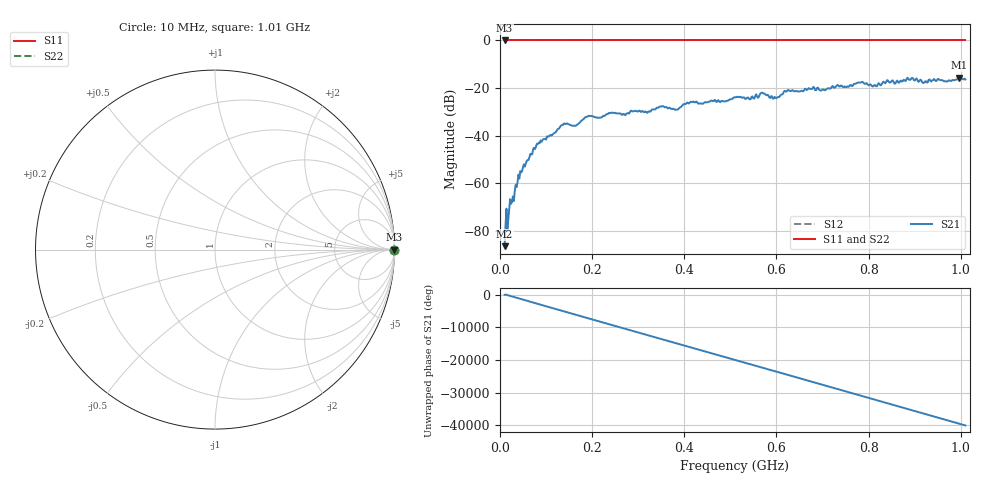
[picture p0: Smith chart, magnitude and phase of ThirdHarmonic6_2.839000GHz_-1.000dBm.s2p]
! 8/17/2025 7:37:05 AM
! C:\ANRITSUVNA\TEMP\TEMP.S2P
! CHANNEL.1
! TR.MEASUREMENT
! RAW.DATA
! RF.CORRECTION.OFF
! AVERAGING.OFF
! IF.BANDWIDTH: 5KHZ
! SWEEPTYPE:  FREQ.SWEEP(Linear)
! Reference Plane Port Info
! PORT:  PORT1  PORT2
! DISTANCE:  0  m  0  m
! TIME:  0  s  0  s
! PHASE.OFFSET:  0  deg.  0  deg.
! LOSS:  0  dB  0  dB
! REF.LOSS:  0  dB  0  dB
! REF.FREQ:  0  Hz  0  Hz
! Power Info
! POWER:  -20  dBm  -20  dBm
! EFF.POWER:  -20  dBm  -20  dBm
! SOURCE.ATTEN:  0  dB  0  dB
! TEST.ATTEN:  0  dB  0  dB
# GHZ S RI R 50.0
! FREQ.GHZ  S11RE  S11IM  S21RE  S21IM  S12RE  S12IM  S22RE  S22IM
!; PortSelection: Port_12
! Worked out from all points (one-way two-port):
!   501 points, 10 MHz to 1.01 GHz, reference 50 ohm
!   highest |S21| = -15.57 dB at 996 MHz (marker M1); lowest = -86.3 dB at 10 MHz (marker M2)
!   lowest |S11| = 0.0 dB at 10 MHz (marker M3)
!   |S11| at or under -10 dB: nowhere
!   |S22| runs from 0.0 to 0.0 dB; largest |S21 - S12| = 1.2
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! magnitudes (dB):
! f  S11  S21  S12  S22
! 10 MHz  0.0  -86.3  0.0  0.0
! 14 MHz  0.0  -70.6  0.0  0.0
! 24 MHz  0.0  -68.6  0.0  0.0
! 42 MHz  0.0  -58.0  0.0  0.0
! 76 MHz  0.0  -45.6  0.0  0.0
! 136 MHz  0.0  -35.5  0.0  0.0
! 162 MHz  0.0  -35.9  0.0  0.0
! 178 MHz  0.0  -33.5  0.0  0.0
! 344 MHz  0.0  -28.2  0.0  0.0
! 382 MHz  0.0  -29.0  0.0  0.0
! 416 MHz  0.0  -25.9  0.0  0.0
! 510 MHz  0.0  -23.8  0.0  0.0
! 546 MHz  0.0  -23.7  0.0  0.0
! 570 MHz  0.0  -22.0  0.0  0.0
! 596 MHz  0.0  -23.7  0.0  0.0
! 622 MHz  0.0  -21.4  0.0  0.0
! 678 MHz  0.0  -20.2  0.0  0.0
! 784 MHz  0.0  -17.6  0.0  0.0
! 814 MHz  0.0  -18.7  0.0  0.0
! 844 MHz  0.0  -17.4  0.0  0.0
! 996 MHz  0.0  -15.6  0.0  0.0
! 1.01 GHz  0.0  -16.4  0.0  0.0
